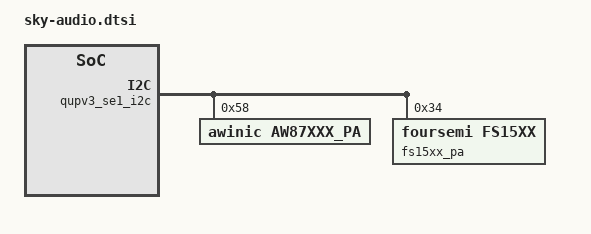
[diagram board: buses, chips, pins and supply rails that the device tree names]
/*
 * Copyright (c) 2023 Atom-X-Devs.
 * Divyanshu-Modi <divyan.m05@gmail.com>
 *
 * Xiaomi SM4450 based SKY platform specific
 */

#include "ravelin-audio-qrd.dtsi"

&wcd937x_codec {
	qcom,cdc-micbias1-mv = <2700>;
	qcom,cdc-micbias2-mv = <2700>;
	qcom,cdc-micbias3-mv = <2700>;
};

&qupv3_se1_i2c {
	aw87xxx_pa@58 {
		compatible = "awinic,aw87xxx_pa";
		reg = <0X58>;
		status = "okay";

		dev_index = <0>;
		aw-rx-port-id = <0X4000>;
		aw-rx-topo-id = <0X1000FF01>;
	};

	fs15xx_pa@34 {
		compatible = "foursemi,fs15xx";
		reg = <0x34>;
		status = "okay";
	};	
};
